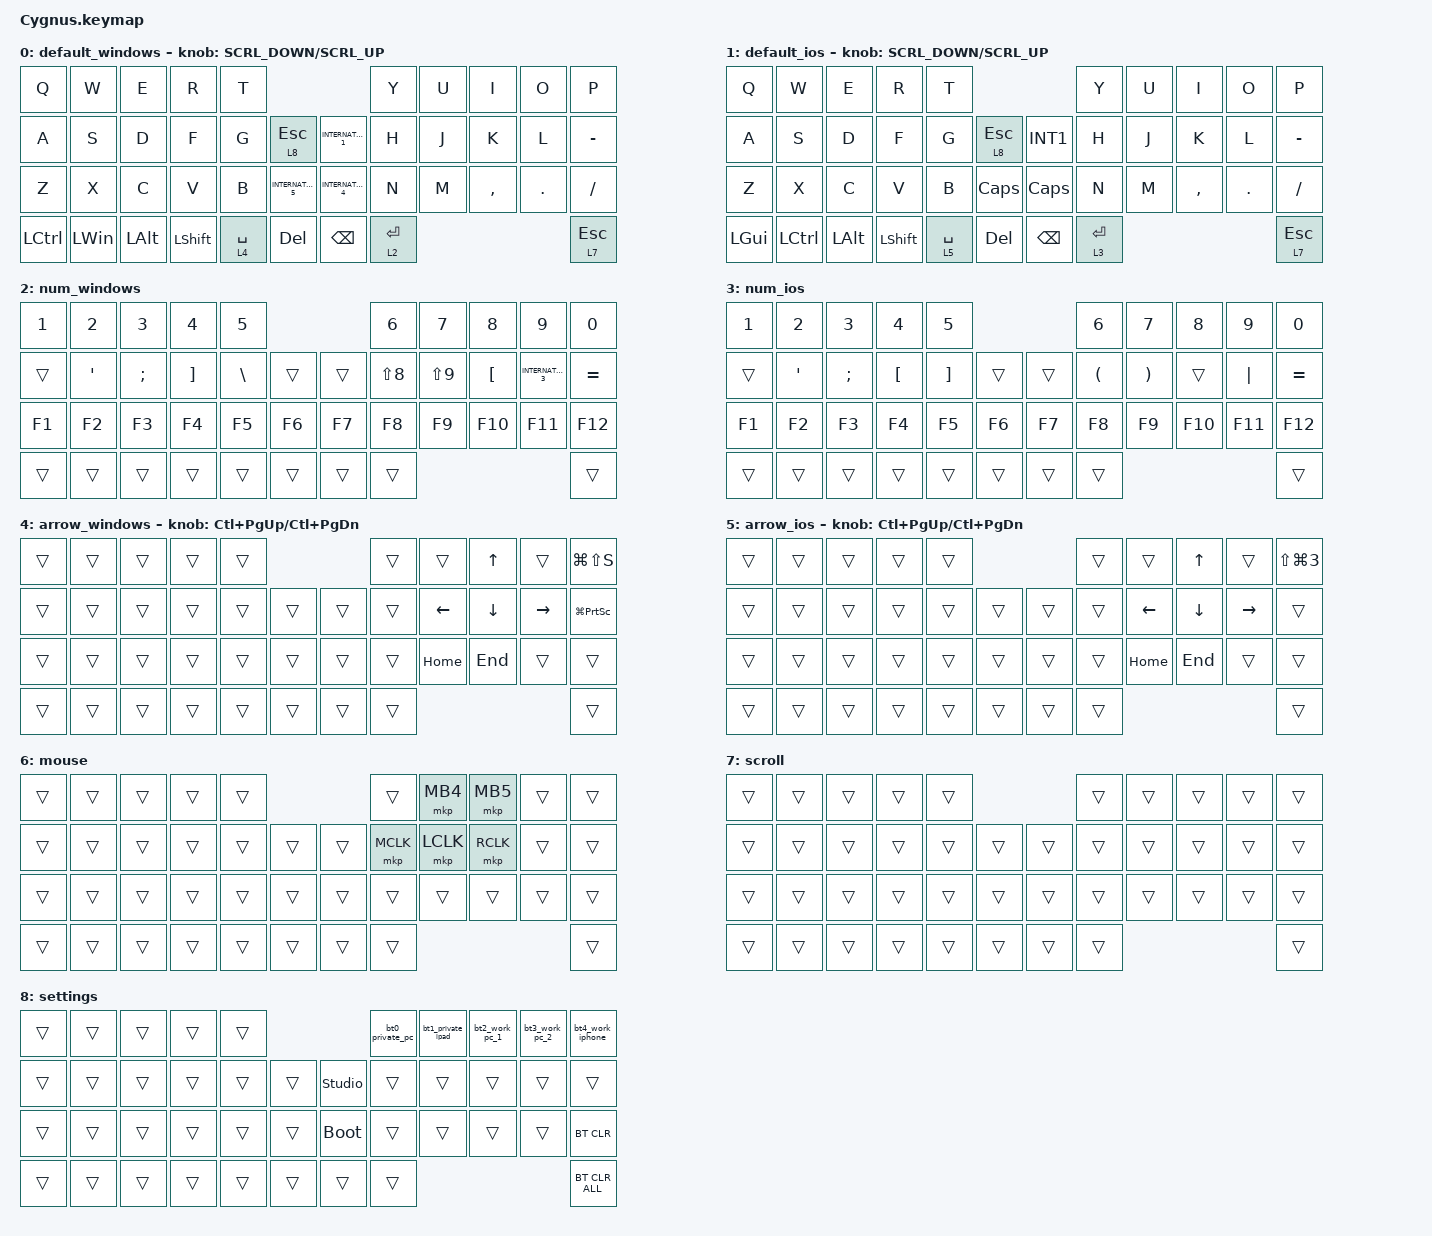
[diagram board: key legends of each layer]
#define ZMK_POINTING_DEFAULT_SCRL_VAL 120    // default: 10

#include <input/processors.dtsi>
#include <behaviors.dtsi>
#include <dt-bindings/zmk/bt.h>
#include <dt-bindings/zmk/keys.h>
#include <dt-bindings/zmk/pointing.h>

//#define MOUSE 4
//#define SCROLL 5
//#define NUM 6

#define JP_DQUOTE     LS(N2)            // " (JISではShift+2)
#define JP_AMPERSAND  LS(N6)            // & (JISではShift+6)
#define JP_QUOTE      LS(N7)            // ' (JISではShift+7)
#define JP_LPAREN     LS(N8)            // ( (JISではShift+8)
#define JP_RPAREN     LS(N9)            // ) (JISではShift+9)
#define JP_EQUAL      LS(MINUS)         // = (JISではShift+-)
#define JP_PLUS       LS(SEMICOLON)     // + (JISではShift+;)
#define JP_ASTERISK   LS(SINGLE_QUOTE)  // * (JISではShift+:)
#define JP_COLON      SINGLE_QUOTE      // : (JISでは物理的な ' の位置)
#define JP_AT         LEFT_BRACKET      // @ (JISでは物理的な [ の位置)
#define JP_LBRACKET   RIGHT_BRACKET     // [ (JISでは物理的な ] の位置)
#define JP_RBRACKET   BACKSLASH         // ] (JISでは物理的な \ の位置)
#define JP_CARET      EQUAL             // ^ (JISでは物理的な = の位置)
#define JP_TILDE      LS(EQUAL)         // ~ (JISではShift+^)
#define JP_PIPE       LS(INT_YEN)       // | (JISの「¥」キー + Shift)
#define JP_UNDERSCORE LS(INT_RO)        // _ (JISではShift+ろ)
#define JP_YEN        INT_RO            // ¥ (JISでは「ろ」のキー)
#define JP_BACKQUOTE  LS(LEFT_BRACKET)  // ` (JISではShift+@)
#define JP_BACKSLASH  INT_YEN           // \ (JISの「¥」キー)

&mt {
    flavor = "balanced";
    quick-tap-ms = <0>;
};

// 20260413 add

&mkp_input_listener { input-processors = <&zip_temp_layer 6 10000>; };

/ {
    combos {
        compatible = "zmk,combos";

        tab {
            bindings = <&kp TAB>;
            key-positions = <11 12>;
        };

        shift_tab {
            bindings = <&kp LS(TAB)>;
            key-positions = <12 13>;
        };

        esc {
            bindings = <&kp ESCAPE>;
            key-positions = <0 1>;
        };

        mouse_left_click {
            bindings = <&mkp MB1>;
            key-positions = <18 19>;
        };

        mouse_right_click {
            bindings = <&mkp MB2>;
            key-positions = <19 20>;
        };
    };

    macros {
        to_layer_0: to_layer_0 {
            compatible = "zmk,behavior-macro-one-param";
            #binding-cells = <1>;
            bindings = <&to 0 &macro_param_1to1 &kp MACRO_PLACEHOLDER>;
            label = "TO_LAYER_0";
        };

        bt0_private_pc: bt0 {
            compatible = "zmk,behavior-macro";
            #binding-cells = <0>;
            bindings =
                <&tog_off 1>,
                <&macro_wait_time 200>,
                <&bt BT_SEL 0>,
                <&macro_wait_time 200>;

            label = "BT0";
        };

        bt1_private_ipad: bt1 {
            compatible = "zmk,behavior-macro";
            #binding-cells = <0>;
            bindings =
                <&tog_off 1>,
                <&macro_wait_time 200>,
                <&bt BT_SEL 1>,
                <&macro_wait_time 200>,
                <&tog_on 1>;

            label = "BT1";
        };

        bt2_work_pc_1: bt2_work_1 {
            compatible = "zmk,behavior-macro";
            #binding-cells = <0>;
            bindings =
                <&tog_off 1>,
                <&macro_wait_time 200>,
                <&bt BT_SEL 2>,
                <&macro_wait_time 200>;

            label = "BT2_WORK_1";
        };

        bt3_work_pc_2: bt3_work_pc_2 {
            compatible = "zmk,behavior-macro";
            #binding-cells = <0>;
            bindings =
                <&tog_off 1>,
                <&macro_wait_time 200>,
                <&bt BT_SEL 3>,
                <&macro_wait_time 200>;

            label = "BT3_WORK_PC_2";
        };

        bt4_work_iphone: bt4_work_iphone {
            compatible = "zmk,behavior-macro";
            #binding-cells = <0>;
            bindings =
                <&tog_off 1>,
                <&macro_wait_time 200>,
                <&bt BT_SEL 4>,
                <&macro_wait_time 200>,
                <&tog_on 1>;

            label = "BT4_WORK_IPHONE";
        };
    };

    behaviors {
        lt_to_layer_0: lt_to_layer_0 {
            compatible = "zmk,behavior-hold-tap";
            label = "LAYER_TAP_TO_0";
            bindings = <&mo>, <&to_layer_0>;

            #binding-cells = <2>;
            tapping-term-ms = <200>;
        };

        ROTATE: ROTATE {
            compatible = "zmk,behavior-sensor-rotate-var";
            label = "ROTATE";
            #sensor-binding-cells = <2>;
            bindings = <&msc>, <&msc>;

            tap-ms = <20>;
        };

        tog_on: toggle_layer_on_only {
            compatible = "zmk,behavior-toggle-layer";
            #binding-cells = <1>;
            display-name = "Toggle Layer On";
            toggle-mode = "on";
        };

        tog_off: toggle_layer_off_only {
            compatible = "zmk,behavior-toggle-layer";
            #binding-cells = <1>;
            display-name = "Toggle Layer Off";
            toggle-mode = "off";
        };
    };

    keymap {
        compatible = "zmk,keymap";

        default_windows {
            bindings = <
&kp Q      &kp W         &kp E         &kp R           &kp T                                                      &kp Y        &kp U  &kp I      &kp O    &kp P
&kp A      &kp S         &kp D         &kp F           &kp G        &lt 8 ESCAPE             &kp INTERNATIONAL_1  &kp H        &kp J  &kp K      &kp L    &kp MINUS
&kp Z      &kp X         &kp C         &kp V           &kp B        &kp INTERNATIONAL_5      &kp INTERNATIONAL_4  &kp N        &kp M  &kp COMMA  &kp DOT  &kp SLASH
&kp LCTRL  &kp LEFT_WIN  &kp LEFT_ALT  &kp LEFT_SHIFT  &lt 4 SPACE  &kp DELETE               &kp BACKSPACE        &lt 2 ENTER                             &lt 7 ESCAPE
            >;

            sensor-bindings = <&ROTATE SCRL_DOWN SCRL_UP>;
        };

        default_ios {
            bindings = <
&kp Q         &kp W             &kp E         &kp R           &kp T                                         &kp Y        &kp U  &kp I      &kp O    &kp P
&kp A         &kp S             &kp D         &kp F           &kp G        &lt 8 ESCAPE      &kp INT1       &kp H        &kp J  &kp K      &kp L    &kp MINUS
&kp Z         &kp X             &kp C         &kp V           &kp B        &kp CAPS          &kp CAPSLOCK   &kp N        &kp M  &kp COMMA  &kp DOT  &kp SLASH
&kp LEFT_GUI  &kp LEFT_CONTROL  &kp LEFT_ALT  &kp LEFT_SHIFT  &lt 5 SPACE  &kp DELETE        &kp BACKSPACE  &lt 3 ENTER                             &lt 7 ESCAPE
            >;

            sensor-bindings = <&ROTATE SCRL_DOWN SCRL_UP>;
        };

        num_windows {
            bindings = <
&kp N1  &kp N2   &kp N3    &kp N4             &kp N5                        &kp N6      &kp N7      &kp N8            &kp N9               &kp N0
&trans  &kp SQT  &kp SEMI  &kp RIGHT_BRACKET  &kp BSLH  &trans      &trans  &kp LS(N8)  &kp LS(N9)  &kp LEFT_BRACKET  &kp INTERNATIONAL_3  &kp EQUAL
&kp F1  &kp F2   &kp F3    &kp F4             &kp F5    &kp F6      &kp F7  &kp F8      &kp F9      &kp F10           &kp F11              &kp F12
&trans  &trans   &trans    &trans             &trans    &trans      &trans  &trans                                                         &trans
            >;
        };

        num_ios {
            bindings = <
&kp N1  &kp N2   &kp N3         &kp N4    &kp N5                                 &kp N6                &kp N7                 &kp N8   &kp N9    &kp N0
&trans  &kp SQT  &kp SEMICOLON  &kp LBKT  &kp RIGHT_BRACKET  &trans      &trans  &kp LEFT_PARENTHESIS  &kp RIGHT_PARENTHESIS  &trans   &kp PIPE  &kp EQUAL
&kp F1  &kp F2   &kp F3         &kp F4    &kp F5             &kp F6      &kp F7  &kp F8                &kp F9                 &kp F10  &kp F11   &kp F12
&trans  &trans   &trans         &trans    &trans             &trans      &trans  &trans                                                          &trans
            >;
        };

        arrow_windows {
            bindings = <
&trans  &trans  &trans  &trans  &trans                      &trans  &trans    &kp UP    &trans     &kp LG(LS(S))
&trans  &trans  &trans  &trans  &trans  &trans      &trans  &trans  &kp LEFT  &kp DOWN  &kp RIGHT  &kp LG(PRINTSCREEN)
&trans  &trans  &trans  &trans  &trans  &trans      &trans  &trans  &kp HOME  &kp END   &trans     &trans
&trans  &trans  &trans  &trans  &trans  &trans      &trans  &trans                                 &trans
            >;

            sensor-bindings = <&inc_dec_kp LC(PAGE_UP) LC(PAGE_DOWN)>;
        };

        arrow_ios {
            bindings = <
&trans  &trans  &trans  &trans  &trans                      &trans  &trans    &kp UP    &trans     &kp LS(LG(NUMBER_3))
&trans  &trans  &trans  &trans  &trans  &trans      &trans  &trans  &kp LEFT  &kp DOWN  &kp RIGHT  &trans
&trans  &trans  &trans  &trans  &trans  &trans      &trans  &trans  &kp HOME  &kp END   &trans     &trans
&trans  &trans  &trans  &trans  &trans  &trans      &trans  &trans                                 &trans
            >;

            sensor-bindings = <&inc_dec_kp LC(PAGE_UP) LC(PAGE_DOWN)>;
        };

        mouse {
            bindings = <
&trans  &trans  &trans  &trans  &trans                      &trans     &mkp MB4   &mkp MB5   &trans  &trans
&trans  &trans  &trans  &trans  &trans  &trans      &trans  &mkp MCLK  &mkp LCLK  &mkp RCLK  &trans  &trans
&trans  &trans  &trans  &trans  &trans  &trans      &trans  &trans     &trans     &trans     &trans  &trans
&trans  &trans  &trans  &trans  &trans  &trans      &trans  &trans                                   &trans
            >;
        };

        scroll {
            bindings = <
&trans  &trans  &trans  &trans  &trans                      &trans  &trans  &trans  &trans  &trans
&trans  &trans  &trans  &trans  &trans  &trans      &trans  &trans  &trans  &trans  &trans  &trans
&trans  &trans  &trans  &trans  &trans  &trans      &trans  &trans  &trans  &trans  &trans  &trans
&trans  &trans  &trans  &trans  &trans  &trans      &trans  &trans                          &trans
            >;
        };

        settings {
            bindings = <
&trans  &trans  &trans  &trans  &trans                              &bt0_private_pc  &bt1_private_ipad  &bt2_work_pc_1  &bt3_work_pc_2  &bt4_work_iphone
&trans  &trans  &trans  &trans  &trans  &trans      &studio_unlock  &trans           &trans             &trans          &trans          &trans
&trans  &trans  &trans  &trans  &trans  &trans      &bootloader     &trans           &trans             &trans          &trans          &bt BT_CLR
&trans  &trans  &trans  &trans  &trans  &trans      &trans          &trans                                                              &bt BT_CLR_ALL
            >;
        };
    };
};
